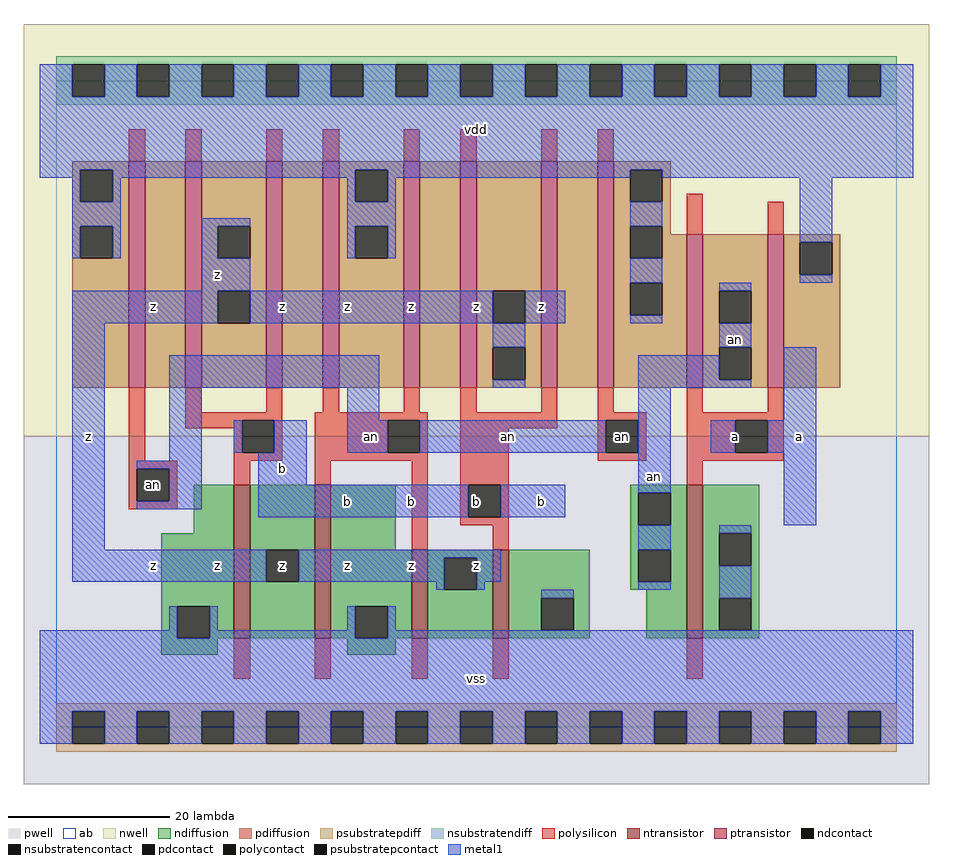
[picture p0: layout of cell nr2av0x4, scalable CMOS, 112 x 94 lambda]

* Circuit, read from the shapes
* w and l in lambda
.subckt nr2av0x4 a an b vdd vss z
M1 z b vss vss nfet w=19 l=2
M2 vss an z vss nfet w=19 l=2
M3 z an vss vss nfet w=11 l=2
M4 vss b z vss nfet w=11 l=2
M5 vss a an vss nfet w=19 l=2
M6 n1 an vdd vdd pfet w=28 l=2
M7 z b n1 vdd pfet w=28 l=2
M8 n2 b z vdd pfet w=28 l=2
M9 vdd an n2 vdd pfet w=28 l=2
M10 n3 an vdd vdd pfet w=28 l=2
M11 z b n3 vdd pfet w=28 l=2
M12 n4 b z vdd pfet w=28 l=2
M13 vdd an n4 vdd pfet w=28 l=2
M14 an a vdd vdd pfet w=19 l=2 m=2
.ends

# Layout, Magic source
magic
tech scmos
<< ab >>
rect 0 0 104 80
<< pwell >>
rect -4 -7 108 36
<< nwell >>
rect -4 36 108 87
<< polysilicon >>
rect 9 70 11 74
rect 16 70 18 74
rect 26 70 28 74
rect 33 70 35 74
rect 43 70 45 74
rect 50 70 52 74
rect 60 70 62 74
rect 67 70 69 74
rect 78 61 80 66
rect 88 61 90 65
rect 9 33 11 42
rect 16 39 18 42
rect 26 39 28 42
rect 33 39 35 42
rect 43 39 45 42
rect 50 39 52 42
rect 60 39 62 42
rect 16 38 28 39
rect 16 37 23 38
rect 22 34 23 37
rect 27 34 28 38
rect 22 33 28 34
rect 32 38 46 39
rect 32 34 41 38
rect 45 34 46 38
rect 32 33 46 34
rect 9 32 15 33
rect 9 28 10 32
rect 14 28 15 32
rect 22 30 24 33
rect 32 30 34 33
rect 9 27 15 28
rect 44 22 46 33
rect 50 37 62 39
rect 67 39 69 42
rect 78 39 80 42
rect 88 39 90 42
rect 67 38 73 39
rect 50 30 56 37
rect 67 34 68 38
rect 72 34 73 38
rect 67 33 73 34
rect 78 38 90 39
rect 78 34 84 38
rect 88 34 90 38
rect 78 33 90 34
rect 78 30 80 33
rect 50 26 51 30
rect 55 26 56 30
rect 50 25 56 26
rect 54 22 56 25
rect 22 6 24 11
rect 32 6 34 11
rect 44 6 46 11
rect 54 6 56 11
rect 78 6 80 11
<< ndiffusion >>
rect 17 24 22 30
rect 13 15 22 24
rect 13 11 15 15
rect 19 11 22 15
rect 24 22 32 30
rect 24 18 26 22
rect 30 18 32 22
rect 24 11 32 18
rect 34 22 42 30
rect 71 29 78 30
rect 71 25 72 29
rect 76 25 78 29
rect 71 22 78 25
rect 34 15 44 22
rect 34 11 37 15
rect 41 11 44 15
rect 46 21 54 22
rect 46 17 48 21
rect 52 17 54 21
rect 46 11 54 17
rect 56 16 66 22
rect 71 18 72 22
rect 76 18 78 22
rect 71 17 78 18
rect 56 12 60 16
rect 64 12 66 16
rect 56 11 66 12
rect 73 11 78 17
rect 80 24 87 30
rect 80 20 82 24
rect 86 20 87 24
rect 80 16 87 20
rect 80 12 82 16
rect 86 12 87 16
rect 80 11 87 12
rect 13 9 20 11
rect 36 9 42 11
<< pdiffusion >>
rect 2 69 9 70
rect 2 65 3 69
rect 7 65 9 69
rect 2 62 9 65
rect 2 58 3 62
rect 7 58 9 62
rect 2 42 9 58
rect 11 42 16 70
rect 18 62 26 70
rect 18 58 20 62
rect 24 58 26 62
rect 18 54 26 58
rect 18 50 20 54
rect 24 50 26 54
rect 18 42 26 50
rect 28 42 33 70
rect 35 69 43 70
rect 35 65 37 69
rect 41 65 43 69
rect 35 62 43 65
rect 35 58 37 62
rect 41 58 43 62
rect 35 42 43 58
rect 45 42 50 70
rect 52 54 60 70
rect 52 50 54 54
rect 58 50 60 54
rect 52 47 60 50
rect 52 43 54 47
rect 58 43 60 47
rect 52 42 60 43
rect 62 42 67 70
rect 69 69 76 70
rect 69 65 71 69
rect 75 65 76 69
rect 69 62 76 65
rect 69 58 71 62
rect 75 61 76 62
rect 75 58 78 61
rect 69 55 78 58
rect 69 51 71 55
rect 75 51 78 55
rect 69 42 78 51
rect 80 54 88 61
rect 80 50 82 54
rect 86 50 88 54
rect 80 47 88 50
rect 80 43 82 47
rect 86 43 88 47
rect 80 42 88 43
rect 90 60 97 61
rect 90 56 92 60
rect 96 56 97 60
rect 90 42 97 56
<< metal1 >>
rect -2 78 2 82
rect 6 78 10 82
rect 14 78 18 82
rect 22 78 26 82
rect 30 78 34 82
rect 38 78 42 82
rect 46 78 50 82
rect 54 78 58 82
rect 62 78 66 82
rect 70 78 74 82
rect 78 78 82 82
rect 86 78 90 82
rect 94 78 98 82
rect 102 78 106 82
rect -2 69 106 78
rect -2 68 3 69
rect 2 65 3 68
rect 7 68 37 69
rect 7 65 8 68
rect 2 62 8 65
rect 36 65 37 68
rect 41 68 71 69
rect 41 65 42 68
rect 2 58 3 62
rect 7 58 8 62
rect 18 62 24 63
rect 18 58 20 62
rect 36 62 42 65
rect 36 58 37 62
rect 41 58 42 62
rect 75 68 106 69
rect 71 62 75 65
rect 18 54 24 58
rect 71 55 75 58
rect 92 60 96 68
rect 92 55 96 56
rect 2 50 20 54
rect 24 50 54 54
rect 58 50 63 54
rect 71 50 75 51
rect 82 54 86 55
rect 2 22 6 50
rect 54 47 58 50
rect 14 42 40 46
rect 82 47 86 50
rect 54 42 58 43
rect 72 43 82 46
rect 72 42 86 43
rect 14 33 18 42
rect 36 38 40 42
rect 22 34 23 38
rect 27 34 31 38
rect 36 34 41 38
rect 45 34 68 38
rect 10 32 18 33
rect 14 28 18 32
rect 10 27 18 28
rect 25 30 31 34
rect 25 26 51 30
rect 55 26 63 30
rect 72 29 76 42
rect 90 38 94 47
rect 81 34 84 38
rect 88 34 94 38
rect 90 25 94 34
rect 72 22 76 25
rect 2 18 26 22
rect 30 21 55 22
rect 30 18 48 21
rect 47 17 48 18
rect 52 18 55 21
rect 52 17 53 18
rect 72 17 76 18
rect 82 24 86 25
rect 60 16 64 17
rect 14 12 15 15
rect -2 11 15 12
rect 19 12 20 15
rect 36 12 37 15
rect 19 11 37 12
rect 41 12 42 15
rect 82 16 86 20
rect 41 11 106 12
rect -2 2 106 11
rect -2 -2 2 2
rect 6 -2 10 2
rect 14 -2 18 2
rect 22 -2 26 2
rect 30 -2 34 2
rect 38 -2 42 2
rect 46 -2 50 2
rect 54 -2 58 2
rect 62 -2 66 2
rect 70 -2 74 2
rect 78 -2 82 2
rect 86 -2 90 2
rect 94 -2 98 2
rect 102 -2 106 2
<< ntransistor >>
rect 22 11 24 30
rect 32 11 34 30
rect 44 11 46 22
rect 54 11 56 22
rect 78 11 80 30
<< ptransistor >>
rect 9 42 11 70
rect 16 42 18 70
rect 26 42 28 70
rect 33 42 35 70
rect 43 42 45 70
rect 50 42 52 70
rect 60 42 62 70
rect 67 42 69 70
rect 78 42 80 61
rect 88 42 90 61
<< polycontact >>
rect 23 34 27 38
rect 41 34 45 38
rect 10 28 14 32
rect 68 34 72 38
rect 84 34 88 38
rect 51 26 55 30
<< ndcontact >>
rect 15 11 19 15
rect 26 18 30 22
rect 72 25 76 29
rect 37 11 41 15
rect 48 17 52 21
rect 72 18 76 22
rect 60 12 64 16
rect 82 20 86 24
rect 82 12 86 16
<< pdcontact >>
rect 3 65 7 69
rect 3 58 7 62
rect 20 58 24 62
rect 20 50 24 54
rect 37 65 41 69
rect 37 58 41 62
rect 54 50 58 54
rect 54 43 58 47
rect 71 65 75 69
rect 71 58 75 62
rect 71 51 75 55
rect 82 50 86 54
rect 82 43 86 47
rect 92 56 96 60
<< psubstratepcontact >>
rect 2 -2 6 2
rect 10 -2 14 2
rect 18 -2 22 2
rect 26 -2 30 2
rect 34 -2 38 2
rect 42 -2 46 2
rect 50 -2 54 2
rect 58 -2 62 2
rect 66 -2 70 2
rect 74 -2 78 2
rect 82 -2 86 2
rect 90 -2 94 2
rect 98 -2 102 2
<< nsubstratencontact >>
rect 2 78 6 82
rect 10 78 14 82
rect 18 78 22 82
rect 26 78 30 82
rect 34 78 38 82
rect 42 78 46 82
rect 50 78 54 82
rect 58 78 62 82
rect 66 78 70 82
rect 74 78 78 82
rect 82 78 86 82
rect 90 78 94 82
rect 98 78 102 82
<< psubstratepdiff >>
rect 0 2 104 3
rect 0 -2 2 2
rect 6 -2 10 2
rect 14 -2 18 2
rect 22 -2 26 2
rect 30 -2 34 2
rect 38 -2 42 2
rect 46 -2 50 2
rect 54 -2 58 2
rect 62 -2 66 2
rect 70 -2 74 2
rect 78 -2 82 2
rect 86 -2 90 2
rect 94 -2 98 2
rect 102 -2 104 2
rect 0 -3 104 -2
<< nsubstratendiff >>
rect 0 82 104 83
rect 0 78 2 82
rect 6 78 10 82
rect 14 78 18 82
rect 22 78 26 82
rect 30 78 34 82
rect 38 78 42 82
rect 46 78 50 82
rect 54 78 58 82
rect 62 78 66 82
rect 70 78 74 82
rect 78 78 82 82
rect 86 78 90 82
rect 94 78 98 82
rect 102 78 104 82
rect 0 77 104 78
<< labels >>
rlabel polycontact 12 30 12 30 6 an
rlabel polysilicon 39 36 39 36 6 an
rlabel polycontact 70 36 70 36 6 an
rlabel metal1 12 20 12 20 6 z
rlabel metal1 14 30 14 30 6 an
rlabel metal1 4 36 4 36 6 z
rlabel metal1 12 52 12 52 6 z
rlabel metal1 20 20 20 20 6 z
rlabel ndcontact 28 20 28 20 6 z
rlabel metal1 36 20 36 20 6 z
rlabel metal1 36 28 36 28 6 b
rlabel metal1 28 32 28 32 6 b
rlabel metal1 28 52 28 52 6 z
rlabel metal1 36 52 36 52 6 z
rlabel metal1 20 56 20 56 6 z
rlabel metal1 52 6 52 6 6 vss
rlabel metal1 44 20 44 20 6 z
rlabel metal1 44 28 44 28 6 b
rlabel metal1 52 20 52 20 6 z
rlabel polycontact 52 28 52 28 6 b
rlabel metal1 60 28 60 28 6 b
rlabel metal1 52 52 52 52 6 z
rlabel metal1 60 52 60 52 6 z
rlabel metal1 44 52 44 52 6 z
rlabel metal1 52 74 52 74 6 vdd
rlabel metal1 74 31 74 31 6 an
rlabel metal1 56 36 56 36 6 an
rlabel metal1 84 36 84 36 6 a
rlabel metal1 92 36 92 36 6 a
rlabel metal1 84 48 84 48 6 an
<< end >>
